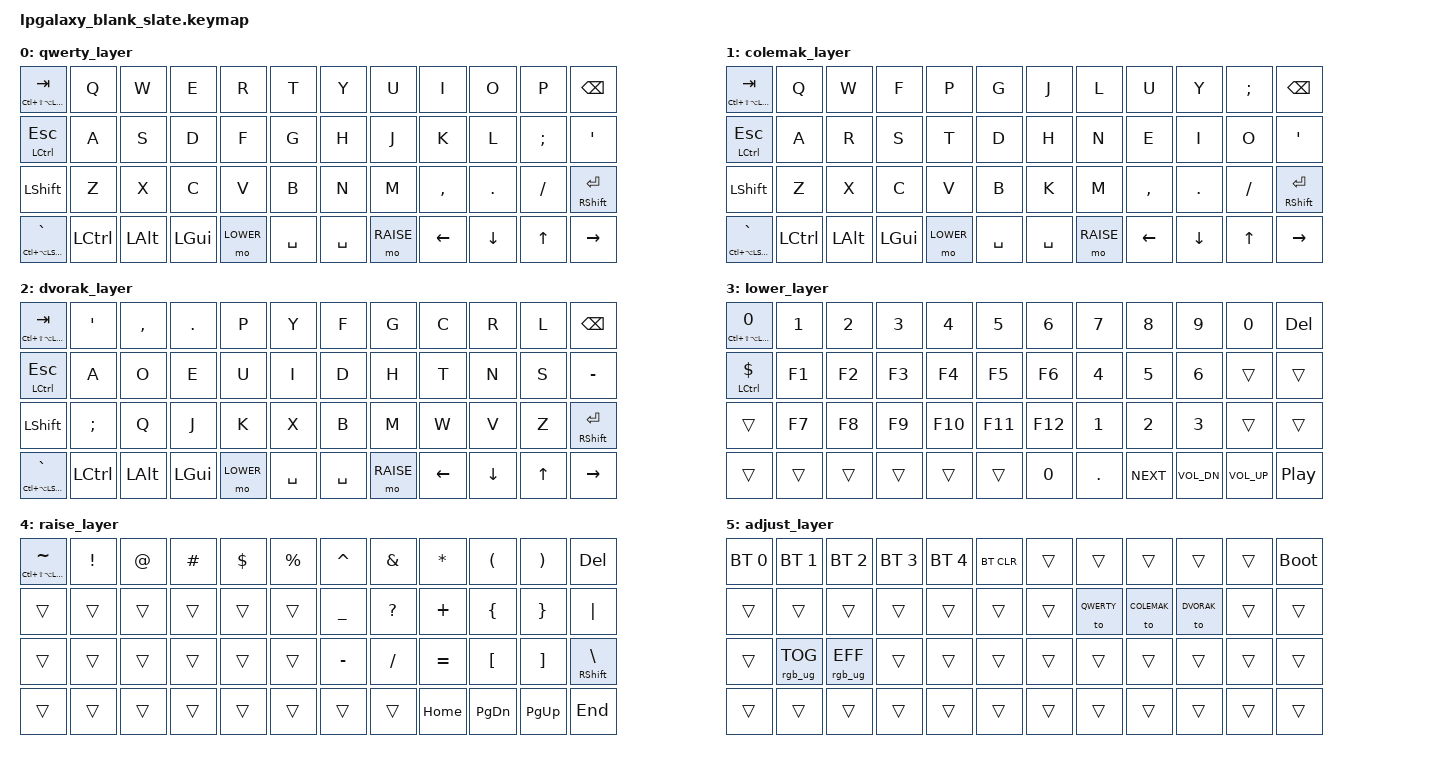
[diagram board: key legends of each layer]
/*
 * Copyright (c) 2020 The ZMK Contributors
 *
 * SPDX-License-Identifier: MIT
 */

#include <behaviors.dtsi>
#include <dt-bindings/zmk/keys.h>
#include <dt-bindings/zmk/bt.h>
#include <dt-bindings/zmk/rgb.h>

// Layer definitions
#define QWERTY  0
#define COLEMAK 1
#define DVORAK  2
#define LOWER   3
#define RAISE   4
#define ADJUST  5

/ {
    // Conditional layer for tri-layer (Lower + Raise = Adjust)
    conditional_layers {
        compatible = "zmk,conditional-layers";
        tri_layer {
            if-layers = <LOWER RAISE>;
            then-layer = <ADJUST>;
        };
    };

    keymap {
        compatible = "zmk,keymap";

        // QWERTY Layer
        qwerty_layer {
            bindings = <
                &mt LC(LS(LA(LGUI))) TAB  &kp Q      &kp W      &kp E       &kp R      &kp T        &kp Y      &kp U      &kp I       &kp O       &kp P          &kp BSPC
                &mt LCTRL ESC             &kp A      &kp S      &kp D       &kp F      &kp G        &kp H      &kp J      &kp K       &kp L       &kp SEMI       &kp SQT
                &kp LSHFT                 &kp Z      &kp X      &kp C       &kp V      &kp B        &kp N      &kp M      &kp COMMA   &kp DOT     &kp FSLH       &mt RSHFT RET
                &mt LC(LA(LSHFT)) GRAVE   &kp LCTRL  &kp LALT   &kp LGUI    &mo LOWER  &kp SPACE    &kp SPACE  &mo RAISE  &kp LEFT    &kp DOWN    &kp UP         &kp RIGHT
            >;
        };

        // COLEMAK Layer
        colemak_layer {
            bindings = <
                &mt LC(LS(LA(LGUI))) TAB  &kp Q      &kp W      &kp F       &kp P      &kp G        &kp J      &kp L      &kp U       &kp Y       &kp SEMI       &kp BSPC
                &mt LCTRL ESC             &kp A      &kp R      &kp S       &kp T      &kp D        &kp H      &kp N      &kp E       &kp I       &kp O          &kp SQT
                &kp LSHFT                 &kp Z      &kp X      &kp C       &kp V      &kp B        &kp K      &kp M      &kp COMMA   &kp DOT     &kp FSLH       &mt RSHFT RET
                &mt LC(LA(LSHFT)) GRAVE   &kp LCTRL  &kp LALT   &kp LGUI    &mo LOWER  &kp SPACE    &kp SPACE  &mo RAISE  &kp LEFT    &kp DOWN    &kp UP         &kp RIGHT
            >;
        };

        // DVORAK Layer
        dvorak_layer {
            bindings = <
                &mt LC(LS(LA(LGUI))) TAB  &kp SQT    &kp COMMA  &kp DOT     &kp P      &kp Y        &kp F      &kp G      &kp C       &kp R       &kp L          &kp BSPC
                &mt LCTRL ESC             &kp A      &kp O      &kp E       &kp U      &kp I        &kp D      &kp H      &kp T       &kp N       &kp S          &kp MINUS
                &kp LSHFT                 &kp SEMI   &kp Q      &kp J       &kp K      &kp X        &kp B      &kp M      &kp W       &kp V       &kp Z          &mt RSHFT RET
                &mt LC(LA(LSHFT)) GRAVE   &kp LCTRL  &kp LALT   &kp LGUI    &mo LOWER  &kp SPACE    &kp SPACE  &mo RAISE  &kp LEFT    &kp DOWN    &kp UP         &kp RIGHT
            >;
        };

        // LOWER Layer
        lower_layer {
            bindings = <
                &mt LC(LS(LA(LGUI))) N0   &kp N1     &kp N2     &kp N3      &kp N4     &kp N5       &kp N6     &kp N7     &kp N8       &kp N9       &kp N0         &kp DEL
                &mt LCTRL DLLR            &kp F1     &kp F2     &kp F3      &kp F4     &kp F5       &kp F6     &kp N4     &kp N5       &kp N6       &trans         &trans
                &trans                    &kp F7     &kp F8     &kp F9      &kp F10    &kp F11      &kp F12    &kp N1     &kp N2       &kp N3       &trans         &trans
                &trans                    &trans     &trans     &trans      &trans     &trans       &kp N0     &kp DOT    &kp C_NEXT   &kp C_VOL_DN &kp C_VOL_UP   &kp C_PP
            >;
        };

        // RAISE Layer
        raise_layer {
            bindings = <
                &mt LC(LS(LA(LGUI))) TILDE  &kp EXCL   &kp AT     &kp HASH    &kp DLLR   &kp PRCNT    &kp CARET  &kp AMPS   &kp STAR     &kp LPAR     &kp RPAR       &kp DEL
                &trans                      &trans     &trans     &trans      &trans     &trans       &kp UNDER  &kp QMARK  &kp PLUS     &kp LBRC     &kp RBRC       &kp PIPE
                &trans                      &trans     &trans     &trans      &trans     &trans       &kp MINUS  &kp FSLH   &kp EQUAL    &kp LBKT     &kp RBKT       &mt RSHFT BSLH
                &trans                      &trans     &trans     &trans      &trans     &trans       &trans     &trans     &kp HOME     &kp PG_DN    &kp PG_UP      &kp END
            >;
        };

        // ADJUST Layer (Lower + Raise)
        adjust_layer {
            bindings = <
                &bt BT_SEL 0  &bt BT_SEL 1  &bt BT_SEL 2  &bt BT_SEL 3  &bt BT_SEL 4  &bt BT_CLR   &trans     &trans     &trans       &trans       &trans         &bootloader
                &trans        &trans        &trans        &trans        &trans        &trans       &trans     &to QWERTY &to COLEMAK  &to DVORAK   &trans         &trans
                &trans        &rgb_ug RGB_TOG &rgb_ug RGB_EFF &trans    &trans        &trans       &trans     &trans     &trans       &trans       &trans         &trans
                &trans        &trans        &trans        &trans        &trans        &trans       &trans     &trans     &trans       &trans       &trans         &trans
            >;
        };
    };
};
